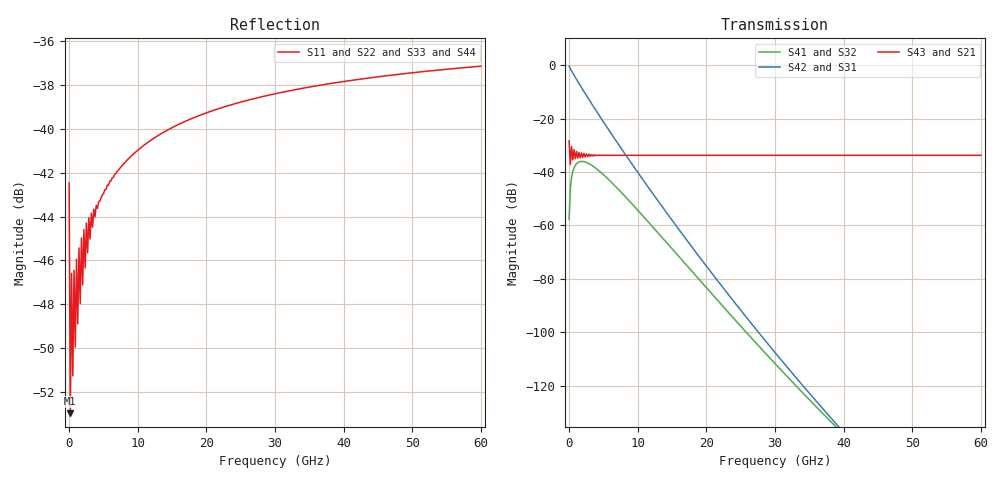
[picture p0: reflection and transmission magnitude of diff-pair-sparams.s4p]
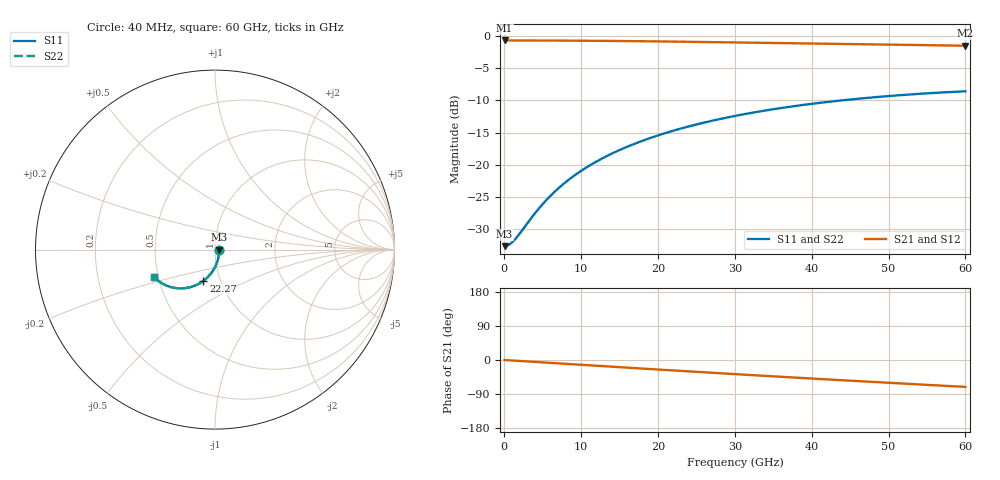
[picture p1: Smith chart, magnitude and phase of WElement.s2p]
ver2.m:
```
clc; clear;

length = 0.1;
freq = linspace(40e6, 60e9, 335); num_freq = size(freq,2);

S = read(rfdata.data, "diff-pair-sparams.s4p");

draw_sp = 0;
if draw_sp
    hs = sparameters('WElement.s2p');
    rfplot(hs)
end

s_params = S.S_Parameters;

rlgc = s2rlgc(s_params,length,freq);
%rlgc_t = s2rlgc_t(s_params, length, freq)
figure();
subplot(2,2,1)
plot(freq, rlgc.R)
title("R")
subplot(2,2,2)
plot(freq, rlgc.L)
title("L")
subplot(2,2,3)
plot(freq, rlgc.C)
title("C")
subplot(2,2,4)
title("G")
plot(freq, rlgc.G)
```
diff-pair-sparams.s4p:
! Touchstone file exported from 2D Extractor 2022.2.0
!  File:  C:/Users/dkcdn/Desktop/Davit/rlcg2s python/Ansys verification/Project/diff_stripline.aedt
!  Generated:  4:34:08 PM  Oct 03, 2024
!  Design:  2DExtractorDesign1
!  Project:  diff_stripline
!  Setup:  Setup1
!  Solution:  Sweep2
!  Reduce Matrix:  Original
# GHz S MA R 50.000000
! Terminal data exported
! Port[1] = Negative_A
! Port[2] = Positive_A
! Port[3] = Negative_B
! Port[4] = Positive_B
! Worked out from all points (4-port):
!   335 points, 40 MHz to 60 GHz, reference 50 ohm
!   strongest paths, dB at 40 MHz, 14.94 GHz, 30.02 GHz, 45.1 GHz, 60 GHz:
!     S43: -28.4, -33.7, -33.7, -33.7, -33.7
!     S21: -28.4, -33.7, -33.7, -33.7, -33.7
!     S42: -0.3, -57.7, -107.6, -151.8, -191.0
!     S31: -0.3, -57.7, -107.6, -151.8, -190.9
!     S41: -57.7, -68.5, -111.7, -151.0, -185.1
!     S32: -57.7, -68.5, -111.7, -151.0, -185.1
!   lowest |S11| = -53.0 dB at 219.5 MHz (marker M1), VSWR 1.00, Z = 49.8 - j0.0204 ohm
!   |S11| at or under -10 dB: start of sweep to end of sweep
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0.04  0.007522 -175.9  0.03823 -13.3  0.9607 -104.1  0.001298 -40.7
      0.03823 -13.3  0.007456 -176.1  0.001298 -40.7  0.9608 -104.1
      0.9607 -104.1  0.001298 -40.7  0.007522 -175.9  0.03823 -13.3
      0.001298 -40.7  0.9608 -104.1  0.03823 -13.3  0.007456 -176.1
0.219521  0.002249 -174.8  0.01393 48.0  0.8619 158.7  0.005109 -119.6
          0.01393 48.0  0.002228 -175.4  0.005109 -119.6  0.8619 158.6
          0.8619 158.7  0.005109 -119.6  0.002249 -174.8  0.01393 48.0
          0.005109 -119.6  0.8619 158.6  0.01393 48.0  0.002228 -175.4
60  0.01388 16.7  0.02059 0.0  2.851e-10 -48.1  5.541e-10 27.8
    0.02059 0.0  0.01391 16.7  5.541e-10 27.8  2.813e-10 -68.0
    2.851e-10 -48.1  5.541e-10 27.8  0.01388 16.7  0.02059 0.0
    5.541e-10 27.8  2.813e-10 -68.0  0.02059 0.0  0.01391 16.7
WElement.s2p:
! Created Thu Oct  3 14:34:44 2024
# hz S ma R 50
! 2 Port Network Data from SP1.SP block
! freq  magS11  angS11  magS21  angS21  magS12  angS12  magS22  angS22
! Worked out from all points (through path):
!   5997 points, 40 MHz to 60 GHz, reference 50 ohm
!   highest |S21| = -0.65 dB at 40 MHz (marker M1); lowest = -1.5 dB at 60 GHz (marker M2)
!   group delay of S21, straight-line fit = 3.29 ps
!   lowest |S11| = -32.7 dB at 40 MHz (marker M3), VSWR 1.05, Z = 52.4 - j0.0388 ohm
!   |S11| at or under -10 dB: start of sweep to 43.78 GHz
!   |S22| runs from -32.7 to -8.6 dB; largest |S21 - S12| = 0
!   S11 on the Smith chart (normalised r, x): 40 MHz: 1.05, -0.00; 22.27 GHz: 0.83, -0.30; 60 GHz: 0.47, -0.17
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4e7  0.02317 -0.9  0.928 -0.1  0.928 -0.1  0.02317 -0.9
6.6e8  0.02388 -14.8  0.928 -0.8  0.928 -0.8  0.02388 -14.8
1.34e9  0.02596 -28.5  0.928 -1.7  0.928 -1.7  0.02596 -28.5
4.25e9  0.04372 -63.3  0.9273 -5.4  0.9273 -5.4  0.04372 -63.3
6.09e9  0.05786 -74.0  0.9265 -7.7  0.9265 -7.7  0.05786 -74.0
9.72e9  0.08721 -86.7  0.9241 -12.3  0.9241 -12.3  0.08721 -86.7
1.526e10  0.1321 -98.9  0.9186 -19.3  0.9186 -19.3  0.1321 -98.9
2.227e10  0.186 -110.4  0.9089 -27.9  0.9089 -27.9  0.186 -110.4
3.002e10  0.2397 -121.1  0.8958 -37.3  0.8958 -37.3  0.2397 -121.1
4.458e10  0.3199 -139.0  0.8688 -54.1  0.8688 -54.1  0.3199 -139.0
6e10  0.373 -156.0  0.8447 -71.0  0.8447 -71.0  0.373 -156.0
